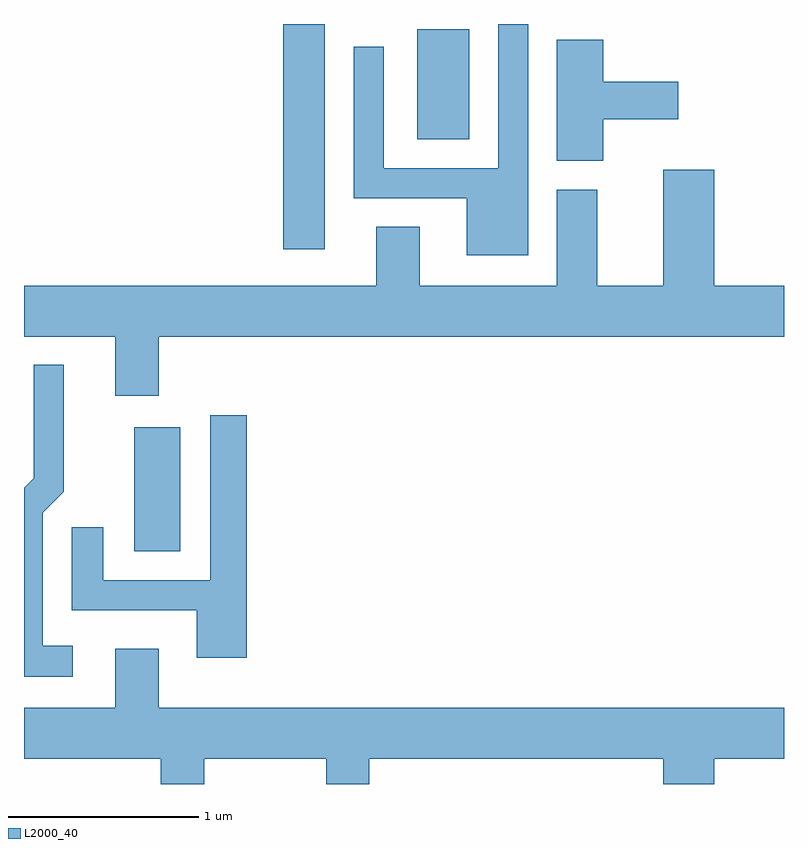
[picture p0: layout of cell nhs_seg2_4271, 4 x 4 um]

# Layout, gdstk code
import gdstk
lib = gdstk.Library(unit=1e-6, precision=1e-09)
def R(c, l, rs):  # rectangles x0, y0, x1, y1
    for r in rs: c.add(gdstk.rectangle(r[:2], r[2:], *l))
def P(c, l, *ps):  # polygons
    for p in ps: c.add(gdstk.Polygon(p, *l))
L2000_40 = (2000, 40)

nhs_seg2_4271 = lib.new_cell('nhs_seg2_4271')
R(nhs_seg2_4271, L2000_40, [(312.191,985.026,312.434,985.679), (312.976,986.616,313.194,987.802), (313.681,987.196,313.954,987.774)])
P(nhs_seg2_4271, L2000_40, [(314.264,987.802),(314.106,987.802),(314.106,987.044),(313.504,987.044),(313.504,987.683),(313.346,987.683),(313.346,986.886),(313.941,986.886),(313.941,986.586),(314.264,986.586)],
  [(314.659,987.301),(315.054,987.301),(315.054,987.499),(314.659,987.499),(314.659,987.719),(314.416,987.719),(314.416,987.081),(314.659,987.081)],
  [(312.319,986.156),(315.611,986.156),(315.611,986.424),(315.244,986.424),(315.244,987.034),(314.976,987.034),(314.976,986.424),(314.629,986.424),(314.629,986.929),(314.416,986.929),(314.416,986.424),(313.694,986.424),(313.694,986.734),(313.466,986.734),(313.466,986.424),(311.611,986.424),(311.611,986.156),(312.091,986.156),(312.091,985.846),(312.319,985.846)],
  [(311.868,984.529),(311.709,984.529),(311.709,985.229),(311.819,985.339),(311.819,986.008),(311.661,986.008),(311.661,985.412),(311.611,985.362),(311.611,984.366),(311.868,984.366)],
  [(312.784,985.744),(312.591,985.744),(312.591,984.874),(312.029,984.874),(312.029,985.153),(311.861,985.153),(311.861,984.716),(312.521,984.716),(312.521,984.466),(312.784,984.466)],
  [(312.559,983.936),(313.201,983.936),(313.201,983.802),(313.429,983.802),(313.429,983.936),(314.976,983.936),(314.976,983.802),(315.244,983.802),(315.244,983.936),(315.611,983.936),(315.611,984.204),(312.319,984.204),(312.319,984.514),(312.091,984.514),(312.091,984.204),(311.611,984.204),(311.611,983.936),(312.331,983.936),(312.331,983.802),(312.559,983.802)])

lib.write_gds('nhs_seg2_4271.gds')
